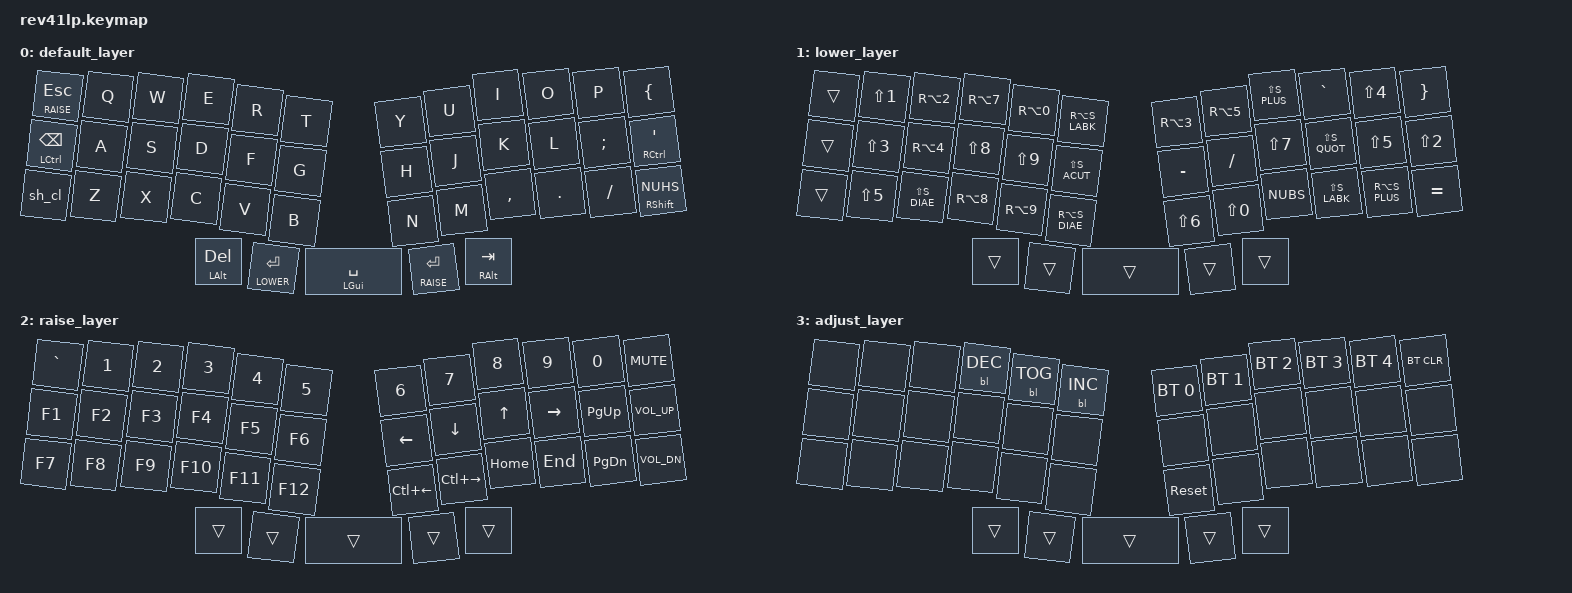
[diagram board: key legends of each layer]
/*
 * Copyright (c) 2024 The ZMK Contributors
 *
 * SPDX-License-Identifier: MIT
 */

#include <behaviors.dtsi>
#include <dt-bindings/zmk/backlight.h>
#include <dt-bindings/zmk/bt.h>
#include <dt-bindings/zmk/keys.h>

#define DEFAULT 0
#define LOWER   1
#define RAISE   2
#define ADJST   3

#define S_SECT GRAVE // §
#define S_PLUS MINUS // +
#define S_ACUT EQUAL // ´ (dead)
#define S_ARNG LBRC  // Å
#define S_DIAE RBRC  // ¨ (dead)
#define S_ODIA SEMI  // Ö
#define S_ADIA SQT   // Ä
#define S_QUOT NUHS  // '
#define S_LABK NUBS  // <
#define S_MINS FSLH  // -

#define S_EXLM LS(N1)     // !
#define S_DQUO LS(N2)     // "
#define S_HASH LS(N3)     // #
#define S_CURR LS(N4)     // ¤
#define S_PERC LS(N5)     // %
#define S_AMPR LS(N6)     // &
#define S_SLSH LS(N7)     // /
#define S_LPRN LS(N8)     // (
#define S_RPRN LS(N9)     // )
#define S_EQL  LS(N0)     // =
#define S_QUES LS(S_PLUS) // ?
#define S_GRV  LS(S_ACUT) // ` (dead)
#define S_CIRC LS(S_DIAE) // ^ (dead)
#define S_ASTR LS(S_QUOT) // *
#define S_RABK LS(S_LABK) // >

#define S_AT   RA(N2)     // @
#define S_PND  RA(N3)     // £
#define S_DLR  RA(N4)     // $
#define S_EURO RA(N5)     // €
#define S_LCBR RA(N7)     // {
#define S_LBRC RA(N8)     // [
#define S_RBRC RA(N9)     // ]
#define S_RCBR RA(N0)     // }
#define S_BSLS RA(S_PLUS) // (backslash)
#define S_TILD RA(S_DIAE) // ~ (dead)
#define S_PIPE RA(S_LABK) // |

#define WLEFT  LC(LEFT)
#define WRIGHT LC(RIGHT)

/ {
    behaviors {
        sh_cl: tap_dance_0 {
            compatible = "zmk,behavior-tap-dance";
            #binding-cells = <0>;
            tapping-term-ms = <200>;
            bindings = <&kp LSHIFT>, <&kp CAPSLOCK>;
        };
    };

    cond_layers {
        compatible = "zmk,conditional-layers";
	tri {
	    if-layers = <LOWER RAISE>;
	    then-layer = <ADJST>;
        };
    };

    keymap {
        compatible = "zmk,keymap";

        default_layer {
// ------------------------------------------------------------------------------
// |  ESC |  Q  |  W  |  E  |  R  |  T  |   |  Y  |  U  |  I  |  O  |  P  |  Å  |
// | BSPS |  A  |  S  |  D  |  F  |  G  |   |  H  |  J  |  K  |  L  |  Ö  |  Ä  |
// | SHFT |  Z  |  X  |  C  |  V  |  B  |   |  N  |  M  |  ,  |  .  |  -  |  '  |
//                          | DEL | LWR |SPC| RSE | TAB |
            bindings = <
    &lt RAISE ESC   &kp Q   &kp W   &kp E   &kp R   &kp T       &kp Y   &kp U   &kp I       &kp O   &kp P      &kp S_ARNG
    &mt LCTRL BSPC  &kp A   &kp S   &kp D   &kp F   &kp G       &kp H   &kp J   &kp K       &kp L   &kp S_ODIA &mt RCTRL S_ADIA
    &sh_cl          &kp Z   &kp X   &kp C   &kp V   &kp B       &kp N   &kp M   &kp COMMA   &kp DOT &kp S_MINS &mt RSHIFT S_QUOT
                    &mt LALT DEL    &lt LOWER RET   &mt LGUI SPACE  &lt RAISE RET   &mt RALT TAB
            >;
        };

        lower_layer {
// -----------------------------------------------------------------------------
// |     |  !  |  @  |  {  |  }  |  |  |   |  £  |  €  |  ?  |  §  |  ¤  |  ¨  |
// |     |  #  |  $  |  (  |  )  |  `  |   |  +  |  -  |  /  |  *  |  %  |  "  |
// |     |  %  |  ^  |  [  |  ]  |  ~  |   |  &  |  =  |  <  |  >  |  \  |  ´  |
//                         |     |     |   | ADJ |     |
            bindings = <
    &trans  &kp S_EXLM  &kp S_AT    &kp S_LCBR  &kp S_RCBR  &kp S_PIPE      &kp S_PND   &kp S_EURO  &kp S_QUES  &kp S_SECT  &kp S_CURR  &kp S_DIAE
    &trans  &kp S_HASH  &kp S_DLR   &kp S_LPRN  &kp S_RPRN  &kp S_GRV       &kp S_PLUS  &kp S_MINS  &kp S_SLSH  &kp S_ASTR  &kp S_PERC  &kp S_DQUO
    &trans  &kp S_PERC  &kp S_CIRC  &kp S_LBRC  &kp S_RBRC  &kp S_TILD      &kp S_AMPR  &kp S_EQL   &kp S_LABK  &kp S_RABK  &kp S_BSLS  &kp S_ACUT
                                                &trans      &trans  &trans  &trans      &trans
            >;
        };

        raise_layer {
// -----------------------------------------------------------------------------
// |  §   |  1  |  2  |  3  |  4  |  5  |   |  6  |  7  |  8  |  9  |  0  | MUTE |
// |  F1  |  F2 |  F3 |  F4 |  F5 |  F6 |   | LEFT| DOWN|  UP | RGHT| PGUP| VOL+ |
// |  F7  |  F8 |  F9 | F10 | F11 | F12 |   |WLEFT|WRGHT| HOME| END | PGDN| VOL- |
//                          |     | ADJ |   |    |     |
            bindings = <
    &kp S_SECT  &kp N1  &kp N2  &kp N3  &kp N4  &kp N5      &kp N6      &kp N7      &kp N8      &kp N9      &kp N0      &kp C_MUTE
    &kp F1      &kp F2  &kp F3  &kp F4  &kp F5  &kp F6      &kp LEFT    &kp DOWN    &kp UP      &kp RIGHT   &kp PG_UP   &kp C_VOL_UP
    &kp F7      &kp F8  &kp F9  &kp F10 &kp F11 &kp F12     &kp WLEFT   &kp WRIGHT  &kp HOME    &kp END     &kp PG_DN   &kp C_VOL_DN
                                &trans  &trans      &trans  &trans      &trans
            >;
        };

        adjust_layer {
// ------------------------------------------------------------------------------
// |     |     |     | BL- | BLT | BL+ |   | BT1 | BT2 | BT3 | BT4 | BT5 |BT CLR|
// |     |     |     |     |     |     |   |     |     |     |     |     |      |
// |     |     |     |     |     |     |   |RESET|     |     |     |     |      |
//                         |     |     |   |     |     |
            bindings = <
    &none   &none   &none   &bl BL_DEC  &bl BL_TOG  &bl BL_INC      &bt BT_SEL 0    &bt BT_SEL 1    &bt BT_SEL 2    &bt BT_SEL 3    &bt BT_SEL 4    &bt BT_CLR
    &none   &none   &none   &none       &none       &none           &none           &none           &none           &none           &none           &none
    &none   &none   &none   &none       &none       &none           &sys_reset      &none           &none           &none           &none           &none
                                            &trans  &trans  &trans  &trans  &trans
            >;
        };
    };
};
